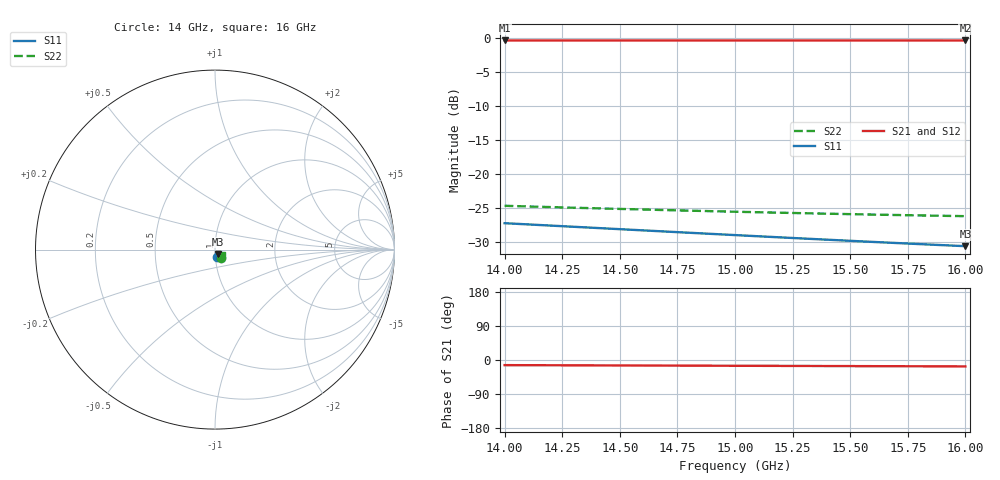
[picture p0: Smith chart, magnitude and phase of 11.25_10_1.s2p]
! Created Tue Dec 15 14:20:56 2020
# hz S ma R 50
! 2 Port Network Data from Sweep1.SP1.SP block
! freq  magS11  angS11  magS21  angS21  magS12  angS12  magS22  angS22
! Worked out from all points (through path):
!   21 points, 14 GHz to 16 GHz, reference 50 ohm
!   highest |S21| = -0.39 dB at 14 GHz (marker M1); lowest = -0.4 dB at 16 GHz (marker M2)
!   group delay of S21, straight-line fit = 4.68 ps
!   lowest |S11| = -30.6 dB at 16 GHz (marker M3), VSWR 1.06, Z = 51.6 - j2.53 ohm
!   |S11| at or under -10 dB: start of sweep to end of sweep
!   |S22| runs from -26.2 to -24.7 dB; largest |S21 - S12| = 0
1.4e10  0.04344 -73.6  0.9556 -13.5  0.9556 -13.5  0.0583 -53.8
1.41e10  0.04257 -73.0  0.9556 -13.7  0.9556 -13.7  0.05766 -53.1
1.42e10  0.04172 -72.4  0.9555 -13.9  0.9555 -13.9  0.05705 -52.5
1.43e10  0.04089 -71.7  0.9555 -14.0  0.9555 -14.0  0.05645 -51.8
1.44e10  0.04007 -71.1  0.9555 -14.2  0.9555 -14.2  0.05586 -51.1
1.45e10  0.03927 -70.4  0.9555 -14.4  0.9555 -14.4  0.0553 -50.4
1.46e10  0.03848 -69.6  0.9555 -14.6  0.9555 -14.6  0.05475 -49.7
1.47e10  0.03772 -68.9  0.9554 -14.7  0.9554 -14.7  0.05423 -49.0
1.48e10  0.03697 -68.1  0.9554 -14.9  0.9554 -14.9  0.05372 -48.3
1.49e10  0.03624 -67.3  0.9554 -15.1  0.9554 -15.1  0.05322 -47.6
1.5e10  0.03553 -66.5  0.9554 -15.2  0.9554 -15.2  0.05275 -46.9
1.51e10  0.03483 -65.6  0.9553 -15.4  0.9553 -15.4  0.05229 -46.1
1.52e10  0.03416 -64.7  0.9553 -15.6  0.9553 -15.6  0.05185 -45.4
1.53e10  0.0335 -63.8  0.9553 -15.7  0.9553 -15.7  0.05142 -44.6
1.54e10  0.03286 -62.8  0.9553 -15.9  0.9553 -15.9  0.05102 -43.9
1.55e10  0.03225 -61.8  0.9553 -16.1  0.9553 -16.1  0.05063 -43.1
1.56e10  0.03165 -60.8  0.9552 -16.2  0.9552 -16.2  0.05025 -42.3
1.57e10  0.03107 -59.7  0.9552 -16.4  0.9552 -16.4  0.04989 -41.6
1.58e10  0.03051 -58.6  0.9552 -16.6  0.9552 -16.6  0.04955 -40.8
1.59e10  0.02997 -57.5  0.9551 -16.7  0.9551 -16.7  0.04923 -40.0
1.6e10  0.02945 -56.3  0.9551 -16.9  0.9551 -16.9  0.04892 -39.2
